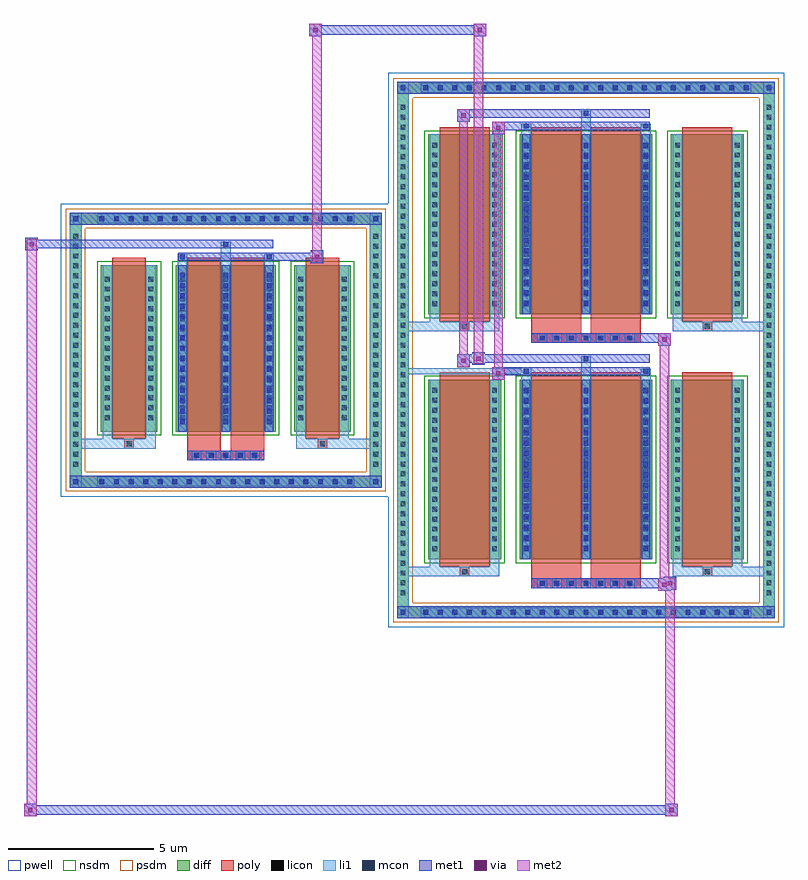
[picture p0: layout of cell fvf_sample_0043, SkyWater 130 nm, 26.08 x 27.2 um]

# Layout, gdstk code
import gdstk
lib = gdstk.Library(unit=1e-6, precision=1e-09)
def R(c, l, rs):  # rectangles x0, y0, x1, y1
    for r in rs: c.add(gdstk.rectangle(r[:2], r[2:], *l))
def A(c, l, x, y, w, h, nx, ny, dx, dy):  # array of equal rectangles
    R(c, l, [(x+i*dx, y+j*dy, x+i*dx+w, y+j*dy+h) for i in range(nx) for j in range(ny)])
def P(c, l, *ps):  # polygons
    for p in ps: c.add(gdstk.Polygon(p, *l))
pwell = (64, 44)
diff = (65, 20)
poly = (66, 20)
licon = (66, 44)
li1 = (67, 20)
mcon = (67, 44)
met1 = (68, 20)
via = (68, 44)
met2 = (69, 20)
nsdm = (93, 44)
psdm = (94, 20)

fvf_sample_0043 = lib.new_cell('fvf_sample_0043')
R(fvf_sample_0043, pwell, [(5.567,-9.516,19.157,9.516), (-5.667,-5.029,5.667,5.029)])
A(fvf_sample_0043, diff, 6.657, -9.206, 0.41, 0.41, 23, 2, 0.5, 18.002)
A(fvf_sample_0043, diff, 5.877, -8.535, 0.41, 0.41, 1, 50, 0, 0.34)
A(fvf_sample_0043, diff, 18.437, -8.535, 0.41, 0.41, 1, 50, 0, 0.34)
A(fvf_sample_0043, diff, -4.455, -4.719, 0.41, 0.41, 18, 2, 0.5, 9.028)
A(fvf_sample_0043, diff, -5.357, -4.115, 0.41, 0.41, 1, 24, 0, 0.34)
A(fvf_sample_0043, diff, 4.947, -4.115, 0.41, 0.41, 1, 24, 0, 0.34)
R(fvf_sample_0043, diff, [(6.657,-9.206,18.067,-8.796), (5.877,-8.535,6.287,8.535), (18.437,-8.535,18.847,8.535), (6.947,-7.185,9.447,-1.015), (10.087,-7.185,14.637,-1.015), (15.277,-7.185,17.777,-1.015), (-4.455,-4.719,4.455,-4.309), (-5.357,-4.115,-4.947,4.115), (4.947,-4.115,5.357,4.115), (-4.287,-2.798,-2.351,2.914), (-1.711,-2.798,1.711,2.914), (2.351,-2.798,4.287,2.914), (6.947,1.231,9.447,7.401), (10.087,1.231,14.637,7.401), (15.277,1.231,17.777,7.401), (-4.455,4.309,4.455,4.719), (6.657,8.796,18.067,9.206)])
P(fvf_sample_0043, diff, [(5.357,4.719),(-5.357,4.719),(-5.357,-4.309),(-4.947,-4.309),(-4.947,4.309),(4.947,4.309),(4.947,-4.309),(-4.947,-4.309),(-5.357,-4.309),(-5.357,-4.719),(5.357,-4.719)],
  [(18.847,9.206),(5.877,9.206),(5.877,-8.796),(6.287,-8.796),(6.287,8.796),(18.437,8.796),(18.437,-8.796),(6.287,-8.796),(5.877,-8.796),(5.877,-9.206),(18.847,-9.206)])
A(fvf_sample_0043, poly, 10.697, -8.166, 0.33, 0.33, 7, 2, 0.5, 8.416)
A(fvf_sample_0043, poly, -1.165, -3.778, 0.33, 0.33, 5, 1, 0.5, 0)
R(fvf_sample_0043, poly, [(10.477,-8.166,14.247,-7.836), (10.477,-7.836,12.197,-7.435), (12.527,-7.836,14.247,-7.435), (8.032,-7.765,8.362,-7.435), (8.032,-7.765,8.362,-7.435), (16.362,-7.765,16.692,-7.435), (16.362,-7.765,16.692,-7.435), (7.337,-7.435,9.057,-0.765), (10.477,-7.435,12.197,-0.765), (12.527,-7.435,14.247,-0.765), (15.667,-7.435,17.387,-0.765), (-1.321,-3.778,1.321,-3.448), (-1.321,-3.448,-0.165,-3.048), (0.165,-3.448,1.321,-3.048), (-3.484,-3.378,-3.154,-3.048), (-3.484,-3.378,-3.154,-3.048), (3.154,-3.378,3.484,-3.048), (3.154,-3.378,3.484,-3.048), (-3.897,-3.048,-2.741,3.164), (-1.321,-3.048,-0.165,3.164), (0.165,-3.048,1.321,3.164), (2.741,-3.048,3.897,3.164), (10.477,0.25,14.247,0.58), (10.477,0.58,12.197,0.981), (12.527,0.58,14.247,0.981), (8.032,0.651,8.362,0.981), (8.032,0.651,8.362,0.981), (16.362,0.651,16.692,0.981), (16.362,0.651,16.692,0.981), (7.337,0.981,9.057,7.651), (10.477,0.981,12.197,7.651), (12.527,0.981,14.247,7.651), (15.667,0.981,17.387,7.651)])
A(fvf_sample_0043, licon, 6.777, -9.086, 0.17, 0.17, 23, 2, 0.5, 18.002)
A(fvf_sample_0043, licon, 5.997, -8.415, 0.17, 0.17, 1, 50, 0, 0.34)
A(fvf_sample_0043, licon, 18.557, -8.415, 0.17, 0.17, 1, 50, 0, 0.34)
A(fvf_sample_0043, licon, 10.777, -8.086, 0.17, 0.17, 7, 2, 0.5, 8.416)
A(fvf_sample_0043, licon, 7.087, -6.905, 0.17, 0.17, 1, 17, 0, 0.34)
A(fvf_sample_0043, licon, 9.137, -6.905, 0.17, 0.17, 1, 17, 0, 0.34)
A(fvf_sample_0043, licon, 10.227, -6.905, 0.17, 0.17, 3, 17, 2.05, 0.34)
A(fvf_sample_0043, licon, 15.417, -6.905, 0.17, 0.17, 1, 17, 0, 0.34)
A(fvf_sample_0043, licon, 17.467, -6.905, 0.17, 0.17, 1, 17, 0, 0.34)
A(fvf_sample_0043, licon, -4.335, -4.599, 0.17, 0.17, 18, 2, 0.5, 9.028)
A(fvf_sample_0043, licon, -5.237, -3.995, 0.17, 0.17, 1, 24, 0, 0.34)
A(fvf_sample_0043, licon, 5.067, -3.995, 0.17, 0.17, 1, 24, 0, 0.34)
A(fvf_sample_0043, licon, -1.085, -3.698, 0.17, 0.17, 5, 1, 0.5, 0)
A(fvf_sample_0043, licon, -4.147, -2.407, 0.17, 0.17, 1, 15, 0, 0.34)
A(fvf_sample_0043, licon, -2.661, -2.407, 0.17, 0.17, 1, 15, 0, 0.34)
A(fvf_sample_0043, licon, -1.571, -2.407, 0.17, 0.17, 3, 15, 1.486, 0.34)
A(fvf_sample_0043, licon, 2.491, -2.407, 0.17, 0.17, 1, 15, 0, 0.34)
A(fvf_sample_0043, licon, 3.977, -2.407, 0.17, 0.17, 1, 15, 0, 0.34)
A(fvf_sample_0043, licon, 7.087, 1.511, 0.17, 0.17, 1, 17, 0, 0.34)
A(fvf_sample_0043, licon, 9.137, 1.511, 0.17, 0.17, 1, 17, 0, 0.34)
A(fvf_sample_0043, licon, 10.227, 1.511, 0.17, 0.17, 3, 17, 2.05, 0.34)
A(fvf_sample_0043, licon, 15.417, 1.511, 0.17, 0.17, 1, 17, 0, 0.34)
A(fvf_sample_0043, licon, 17.467, 1.511, 0.17, 0.17, 1, 17, 0, 0.34)
R(fvf_sample_0043, licon, [(8.112,-7.685,8.282,-7.515), (16.442,-7.685,16.612,-7.515), (-3.404,-3.298,-3.234,-3.128), (3.234,-3.298,3.404,-3.128), (8.112,0.731,8.282,0.901), (16.442,0.731,16.612,0.901)])
A(fvf_sample_0043, li1, 6.697, -9.166, 0.33, 0.33, 23, 2, 0.5, 18.002)
A(fvf_sample_0043, li1, 5.917, -8.495, 0.33, 0.33, 1, 50, 0, 0.34)
A(fvf_sample_0043, li1, 18.477, -8.495, 0.33, 0.33, 1, 50, 0, 0.34)
A(fvf_sample_0043, li1, 10.697, -8.166, 0.33, 0.33, 7, 2, 0.5, 8.416)
A(fvf_sample_0043, li1, 10.147, -7.185, 0.33, 6.17, 3, 2, 2.05, 8.416)
A(fvf_sample_0043, li1, 7.007, -6.985, 0.33, 0.33, 1, 17, 0, 0.34)
A(fvf_sample_0043, li1, 9.057, -6.985, 0.33, 0.33, 1, 17, 0, 0.34)
A(fvf_sample_0043, li1, 10.147, -6.985, 0.33, 0.33, 3, 17, 2.05, 0.34)
A(fvf_sample_0043, li1, 15.337, -6.985, 0.33, 0.33, 1, 17, 0, 0.34)
A(fvf_sample_0043, li1, 17.387, -6.985, 0.33, 0.33, 1, 17, 0, 0.34)
A(fvf_sample_0043, li1, 10.227, -6.885, 0.17, 0.17, 3, 16, 2.05, 0.36)
A(fvf_sample_0043, li1, 10.227, -6.885, 0.17, 5.57, 3, 2, 2.05, 8.416)
A(fvf_sample_0043, li1, -4.415, -4.679, 0.33, 0.33, 18, 2, 0.5, 9.028)
A(fvf_sample_0043, li1, -5.317, -4.075, 0.33, 0.33, 1, 24, 0, 0.34)
A(fvf_sample_0043, li1, 4.987, -4.075, 0.33, 0.33, 1, 24, 0, 0.34)
A(fvf_sample_0043, li1, -1.165, -3.778, 0.33, 0.33, 5, 1, 0.5, 0)
A(fvf_sample_0043, li1, -1.651, -2.798, 0.33, 5.712, 3, 1, 1.486, 0)
A(fvf_sample_0043, li1, -1.571, -2.547, 0.17, 0.17, 3, 15, 1.486, 0.36)
A(fvf_sample_0043, li1, -1.571, -2.547, 0.17, 5.21, 3, 1, 1.486, 0)
A(fvf_sample_0043, li1, -4.227, -2.487, 0.33, 0.33, 1, 15, 0, 0.34)
A(fvf_sample_0043, li1, -2.741, -2.487, 0.33, 0.33, 1, 15, 0, 0.34)
A(fvf_sample_0043, li1, -1.651, -2.487, 0.33, 0.33, 3, 15, 1.486, 0.34)
A(fvf_sample_0043, li1, 2.411, -2.487, 0.33, 0.33, 1, 15, 0, 0.34)
A(fvf_sample_0043, li1, 3.897, -2.487, 0.33, 0.33, 1, 15, 0, 0.34)
A(fvf_sample_0043, li1, 7.007, 1.431, 0.33, 0.33, 1, 17, 0, 0.34)
A(fvf_sample_0043, li1, 9.057, 1.431, 0.33, 0.33, 1, 17, 0, 0.34)
A(fvf_sample_0043, li1, 10.147, 1.431, 0.33, 0.33, 3, 17, 2.05, 0.34)
A(fvf_sample_0043, li1, 15.337, 1.431, 0.33, 0.33, 1, 17, 0, 0.34)
A(fvf_sample_0043, li1, 17.387, 1.431, 0.33, 0.33, 1, 17, 0, 0.34)
A(fvf_sample_0043, li1, 10.227, 1.531, 0.17, 0.17, 3, 16, 2.05, 0.36)
R(fvf_sample_0043, li1, [(5.877,-9.206,6.287,-8.796), (18.437,-9.206,18.847,-8.796), (6.697,-9.166,18.027,-8.836), (5.997,-9.086,6.167,-8.916), (5.997,-9.086,6.167,-8.916), (18.557,-9.086,18.727,-8.916), (18.557,-9.086,18.727,-8.916), (5.877,-8.796,6.287,8.796), (18.437,-8.796,18.847,8.796), (5.877,-7.765,8.032,-7.435), (7.007,-7.765,7.337,-7.185), (7.007,-7.765,8.032,-7.435), (8.032,-7.765,8.362,-7.435), (8.362,-7.765,9.387,-7.435), (9.057,-7.765,9.387,-7.185), (15.337,-7.765,15.667,-7.185), (15.337,-7.765,16.362,-7.435), (16.362,-7.765,16.692,-7.435), (16.362,-7.765,18.847,-7.435), (16.692,-7.765,17.717,-7.435), (17.387,-7.765,17.717,-7.185), (7.007,-7.185,7.337,-1.015), (9.057,-7.185,9.387,-1.015), (15.337,-7.185,15.667,-1.015), (17.387,-7.185,17.717,-1.015), (-5.357,-4.719,-4.947,-4.309), (4.947,-4.719,5.357,-4.309), (-4.415,-4.679,4.415,-4.349), (-5.237,-4.599,-5.067,-4.429), (-5.237,-4.599,-5.067,-4.429), (5.067,-4.599,5.237,-4.429), (5.067,-4.599,5.237,-4.429), (-5.357,-4.309,-4.947,4.309), (4.947,-4.309,5.357,4.309), (-5.357,-3.378,-3.484,-3.048), (-4.227,-3.378,-3.484,-3.048), (-4.227,-3.378,-3.897,-2.798), (-3.484,-3.378,-3.154,-3.048), (-3.154,-3.378,-2.411,-3.048), (-2.741,-3.378,-2.411,-2.798), (2.411,-3.378,3.154,-3.048), (2.411,-3.378,2.741,-2.798), (3.154,-3.378,3.484,-3.048), (3.154,-3.378,5.357,-3.048), (3.484,-3.378,4.227,-3.048), (3.897,-3.378,4.227,-2.798), (-4.227,-2.798,-3.897,2.914), (-2.741,-2.798,-2.411,2.914), (2.411,-2.798,2.741,2.914), (3.897,-2.798,4.227,2.914), (10.147,-1.015,10.477,-0.64), (12.197,-1.015,12.527,-0.21), (14.247,-1.015,14.577,-0.64), (10.167,-0.87,10.457,-0.58), (5.877,-0.825,10.167,-0.625), (10.227,-0.81,10.397,-0.64), (10.227,-0.81,10.397,-0.64), (14.327,-0.81,14.497,-0.64), (12.277,-0.38,12.447,-0.21), (5.877,0.651,8.032,0.981), (7.007,0.651,7.337,1.231), (7.007,0.651,8.032,0.981), (8.032,0.651,8.362,0.981), (8.362,0.651,9.387,0.981), (9.057,0.651,9.387,1.231), (15.337,0.651,15.667,1.231), (15.337,0.651,16.362,0.981), (16.362,0.651,16.692,0.981), (16.362,0.651,18.847,0.981), (16.692,0.651,17.717,0.981), (17.387,0.651,17.717,1.231), (7.007,1.231,7.337,7.401), (9.057,1.231,9.387,7.401), (15.337,1.231,15.667,7.401), (17.387,1.231,17.717,7.401), (-1.651,2.914,-1.321,3.289), (-0.165,2.914,0.165,3.719), (1.321,2.914,1.651,3.289), (-1.571,3.119,-1.401,3.289), (1.401,3.119,1.571,3.289), (-0.085,3.549,0.085,3.719), (-5.357,4.309,-4.947,4.719), (4.947,4.309,5.357,4.719), (-4.415,4.349,4.415,4.679), (-5.237,4.429,-5.067,4.599), (-5.237,4.429,-5.067,4.599), (5.067,4.429,5.237,4.599), (5.067,4.429,5.237,4.599), (10.147,7.401,10.477,7.776), (12.197,7.401,12.527,8.206), (14.247,7.401,14.577,7.776), (10.227,7.606,10.397,7.776), (14.327,7.606,14.497,7.776), (12.277,8.036,12.447,8.206), (5.877,8.796,6.287,9.206), (18.437,8.796,18.847,9.206), (6.697,8.836,18.027,9.166), (5.997,8.916,6.167,9.086), (5.997,8.916,6.167,9.086), (18.557,8.916,18.727,9.086), (18.557,8.916,18.727,9.086)])
A(fvf_sample_0043, mcon, 6.777, -9.086, 0.17, 0.17, 23, 2, 0.5, 18.002)
A(fvf_sample_0043, mcon, 10.777, -8.086, 0.17, 0.17, 7, 2, 0.5, 8.416)
A(fvf_sample_0043, mcon, 10.227, -6.885, 0.17, 0.17, 3, 16, 2.05, 0.36)
A(fvf_sample_0043, mcon, -4.335, -4.599, 0.17, 0.17, 18, 2, 0.5, 9.028)
A(fvf_sample_0043, mcon, -1.085, -3.698, 0.17, 0.17, 5, 1, 0.5, 0)
A(fvf_sample_0043, mcon, -1.571, -2.547, 0.17, 0.17, 3, 15, 1.486, 0.36)
A(fvf_sample_0043, mcon, 10.227, 1.531, 0.17, 0.17, 3, 16, 2.05, 0.36)
R(fvf_sample_0043, mcon, [(5.997,-9.086,6.167,-8.916), (18.557,-9.086,18.727,-8.916), (-5.237,-4.599,-5.067,-4.429), (5.067,-4.599,5.237,-4.429), (10.227,-0.81,10.397,-0.64), (10.227,-0.81,10.397,-0.64), (14.327,-0.81,14.497,-0.64), (12.277,-0.38,12.447,-0.21), (-1.571,3.119,-1.401,3.289), (1.401,3.119,1.571,3.289), (-0.085,3.549,0.085,3.719), (-5.237,4.429,-5.067,4.599), (5.067,4.429,5.237,4.599), (10.227,7.606,10.397,7.776), (14.327,7.606,14.497,7.776), (12.277,8.036,12.447,8.206), (5.997,8.916,6.167,9.086), (18.557,8.916,18.727,9.086)])
A(fvf_sample_0043, met1, 6.717, -9.146, 0.29, 0.29, 23, 2, 0.5, 18.002)
A(fvf_sample_0043, met1, 10.717, -8.146, 0.29, 0.29, 7, 2, 0.5, 8.416)
A(fvf_sample_0043, met1, 10.167, -7.185, 0.29, 6.17, 3, 2, 2.05, 8.416)
A(fvf_sample_0043, met1, 10.167, -6.945, 0.29, 0.29, 3, 16, 2.05, 0.36)
A(fvf_sample_0043, met1, -4.395, -4.659, 0.29, 0.29, 18, 2, 0.5, 9.028)
A(fvf_sample_0043, met1, -1.145, -3.758, 0.29, 0.29, 5, 1, 0.5, 0)
A(fvf_sample_0043, met1, -1.631, -2.798, 0.29, 5.712, 3, 1, 1.486, 0)
A(fvf_sample_0043, met1, -1.631, -2.607, 0.29, 0.29, 3, 15, 1.486, 0.36)
A(fvf_sample_0043, met1, 10.167, 1.471, 0.29, 0.29, 3, 16, 2.05, 0.36)
R(fvf_sample_0043, met1, [(-6.925,-15.998,-6.495,-15.568), (15.082,-15.998,15.512,-15.568), (-6.925,-15.948,15.512,-15.618), (-6.925,-15.618,-6.495,-15.568), (15.082,-15.618,15.512,-15.568), (5.877,-9.206,6.287,-8.796), (5.877,-9.206,6.287,-8.796), (6.287,-9.206,18.437,-8.796), (18.437,-9.206,18.847,-8.796), (18.437,-9.206,18.847,-8.796), (5.937,-9.146,6.227,-8.856), (18.497,-9.146,18.787,-8.856), (14.847,-8.266,15.277,-7.836), (15.032,-8.216,15.462,-7.786), (10.477,-8.166,14.247,-7.836), (14.247,-8.166,15.032,-7.836), (14.247,-8.166,15.277,-7.836), (-5.357,-4.719,-4.947,-4.309), (-5.357,-4.719,-4.947,-4.309), (-4.947,-4.719,4.947,-4.309), (4.947,-4.719,5.357,-4.309), (4.947,-4.719,5.357,-4.309), (-5.297,-4.659,-5.007,-4.369), (5.007,-4.659,5.297,-4.369), (-1.321,-3.778,1.321,-3.448), (9.137,-1.01,9.567,-0.58), (9.137,-0.87,10.167,-0.58), (10.167,-0.87,10.457,-0.58), (10.167,-0.87,10.457,-0.58), (10.167,-0.87,14.557,-0.58), (14.267,-0.87,14.557,-0.58), (7.937,-0.58,8.367,-0.15), (8.452,-0.51,8.882,-0.08), (7.937,-0.44,10.167,-0.15), (8.882,-0.44,10.167,-0.15), (10.167,-0.44,14.557,-0.15), (12.217,-0.44,12.507,-0.15), (14.847,0.15,15.277,0.58), (10.477,0.25,14.247,0.58), (14.247,0.25,15.277,0.58), (2.916,2.989,3.346,3.419), (-1.631,3.059,-1.341,3.349), (-1.631,3.059,1.631,3.349), (1.341,3.059,1.631,3.349), (1.631,3.059,2.916,3.349), (-6.875,3.419,-6.445,3.849), (-6.445,3.489,-1.631,3.779), (-1.631,3.489,1.631,3.779), (-0.145,3.489,0.145,3.779), (-5.357,4.309,-4.947,4.719), (-5.357,4.309,-4.947,4.719), (-4.947,4.309,4.947,4.719), (4.947,4.309,5.357,4.719), (4.947,4.309,5.357,4.719), (-5.297,4.369,-5.007,4.659), (5.007,4.369,5.297,4.659), (9.137,7.406,9.567,7.836), (9.137,7.546,10.167,7.836), (10.167,7.546,10.457,7.836), (10.167,7.546,14.557,7.836), (14.267,7.546,14.557,7.836), (7.937,7.836,8.367,8.266), (7.937,7.976,10.167,8.266), (10.167,7.976,14.557,8.266), (12.217,7.976,12.507,8.266), (5.877,8.796,6.287,9.206), (5.877,8.796,6.287,9.206), (6.287,8.796,18.437,9.206), (18.437,8.796,18.847,9.206), (18.437,8.796,18.847,9.206), (5.937,8.856,6.227,9.146), (18.497,8.856,18.787,9.146), (2.866,10.771,3.296,11.201), (8.502,10.771,8.932,11.201), (2.866,10.821,8.932,11.151), (2.866,11.151,3.296,11.201), (8.502,11.151,8.932,11.201)])
R(fvf_sample_0043, via, [(-6.785,-15.858,-6.635,-15.708), (15.222,-15.858,15.372,-15.708), (14.987,-8.126,15.137,-7.976), (15.172,-8.076,15.322,-7.926), (9.277,-0.87,9.427,-0.72), (8.077,-0.44,8.227,-0.29), (8.592,-0.37,8.742,-0.22), (14.987,0.29,15.137,0.44), (3.056,3.129,3.206,3.279), (-6.735,3.559,-6.585,3.709), (9.277,7.546,9.427,7.696), (8.077,7.976,8.227,8.126), (3.006,10.911,3.156,11.061), (8.642,10.911,8.792,11.061)])
R(fvf_sample_0043, met2, [(-6.925,-15.998,-6.495,-15.568), (-6.825,-15.998,-6.495,3.469), (15.082,-15.998,15.512,-15.568), (15.082,-15.998,15.412,-8.166), (-6.875,-15.948,-6.545,-15.618), (15.132,-15.948,15.462,-15.618), (14.847,-8.266,15.277,-7.836), (14.897,-8.266,15.227,0.58), (15.227,-8.266,15.277,-7.836), (14.897,-8.216,15.227,-7.886), (15.082,-8.166,15.412,-7.836), (9.137,-1.01,9.567,-0.58), (9.207,-1.01,9.497,7.836), (9.497,-1.01,9.567,-0.58), (9.187,-0.96,9.517,-0.63), (7.937,-0.58,8.367,-0.15), (8.007,-0.58,8.297,8.266), (8.297,-0.58,8.367,-0.15), (7.987,-0.53,8.317,-0.2), (8.502,-0.46,8.832,-0.13), (8.502,-0.13,8.832,11.201), (14.847,0.15,15.277,0.58), (15.227,0.15,15.277,0.58), (14.897,0.2,15.227,0.53), (2.966,3.039,3.296,3.369), (2.966,3.369,3.296,11.201), (-6.825,3.469,-6.495,3.799), (9.137,7.406,9.567,7.836), (9.497,7.406,9.567,7.836), (9.187,7.456,9.517,7.786), (7.937,7.836,8.367,8.266), (8.297,7.836,8.367,8.266), (7.987,7.886,8.317,8.216), (2.866,10.771,3.296,11.201), (8.502,10.771,8.932,11.201), (2.916,10.821,3.246,11.151), (8.552,10.821,8.882,11.151)])
R(fvf_sample_0043, nsdm, [(6.817,-7.315,9.577,-0.885), (9.957,-7.315,14.767,-0.885), (15.147,-7.315,17.907,-0.885), (-4.417,-2.928,-2.221,3.044), (-1.841,-2.928,1.841,3.044), (2.221,-2.928,4.417,3.044), (6.817,1.101,9.577,7.531), (9.957,1.101,14.767,7.531), (15.147,1.101,17.907,7.531)])
P(fvf_sample_0043, psdm, [(5.487,4.849),(-5.487,4.849),(-5.487,-4.179),(-4.817,-4.179),(-4.817,4.179),(4.817,4.179),(4.817,-4.179),(-4.817,-4.179),(-5.487,-4.179),(-5.487,-4.849),(5.487,-4.849)],
  [(18.977,9.336),(5.747,9.336),(5.747,-8.666),(6.417,-8.666),(6.417,8.666),(18.307,8.666),(18.307,-8.666),(6.417,-8.666),(5.747,-8.666),(5.747,-9.336),(18.977,-9.336)])

lib.write_gds('fvf_sample_0043.gds')
